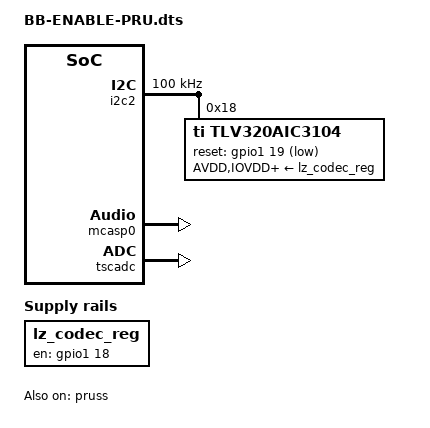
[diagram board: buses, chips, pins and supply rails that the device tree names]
#include "dt-bindings/gpio/gpio.h"
#include "dt-bindings/pinctrl/am33xx.h"

/dts-v1/;
/plugin/;

/ {
    compatible = "ti,beaglebone-black";

    /* identification */
    part-number = "BB-ENABLE-PRU";

    /* version */
    version = "00A0";

	fragment@0 {
		target = <&am33xx_pinmux>;
		__overlay__ {

			lzpt_gpio_pins: pinmux_lzpt_gpio_pins {
				pinctrl-single,pins = <							//	Hdr		PINS	GPIO	Mode7		Desc
																//	-----	----	----	---------	----------------------
					0x048 (PIN_OUTPUT_PULLDOWN | MUX_MODE7)		//	P9_14					gpio1[18]	CODEC regulator enable
					0x04c (PIN_OUTPUT_PULLDOWN | MUX_MODE7)		//	P9_16					gpio1[19]	CODEC nRESET
					
					0x030 (PIN_INPUT_PULLUP | MUX_MODE7)		//	P8_12	12		44		gpio1[12]	amp nFAULT
					0x024 (PIN_OUTPUT_PULLDOWN | MUX_MODE7)		//	P8_13	9		23		gpio0[23]	amp nSD
					
					0x028 (PIN_INPUT_PULLUP | MUX_MODE7)		//	P8_14	10		26		gpio0[26]	Front panel pin 6
					0x03c (PIN_INPUT_PULLUP | MUX_MODE7)		//	P8_15	15		47		gpio1[15]	Front panel pin 8
					0x038 (PIN_INPUT_PULLUP | MUX_MODE7)		//	P8_16	14		46		gpio1[14]	Front panel pin 10
					0x02c (PIN_INPUT_PULLUP | MUX_MODE7)		//	P8_17	11		27		gpio0[27]	Front panel pin 7
					0x08c (PIN_INPUT_PULLUP | MUX_MODE7)		//	P8_18	35		65		gpio2[1]	Front panel pin 9
				>;
			};
			
			i2c2_pins: pinmux_i2c2_pins {
				pinctrl-single,pins = <
					0x150 (SLEWCTRL_SLOW | PIN_INPUT_PULLUP | MUX_MODE2)	//	P9_22, spi0_scl.i2c2_sda
					0x154 (SLEWCTRL_SLOW | PIN_INPUT_PULLUP | MUX_MODE2)	//	P9_21, spi0_d0.i2c2_scl
				>;
			};

			i2s_pins: pinmux_i2s_pins {
				pinctrl-single,pins = <						//	Hdr		I2S		TLV		SoC
															//	-----	----	----	-------------
					0x190 (PIN_INPUT | MUX_MODE0)			//	P9_31	BCLK	BCLK	mcasp0_aclkx
					0x194 (PIN_INPUT | MUX_MODE0)			//	P9_29	WCLK	WCLK	mcasp0_fsx
					0x198 (PIN_INPUT | MUX_MODE0)			//	P9_30 	RX		SDOUT	mcasp0_axr0
					0x19c (PIN_INPUT | MUX_MODE2)			//	P9_28	TX		SDIN	mcasp0_axr2
					0x1ac (PIN_INPUT | MUX_MODE0)			//	P9_25	MCLK	MCLK	mcasp0_ahclkx
				>;
			};
		};
	};
	
	fragment@2 {
		target = <&ocp>;
		__overlay__ {
			gpio_helper {
				compatible = "gpio-of-helper";
				status = "okay";
				pinctrl-names = "default";
				pinctrl-0 = <&lzpt_gpio_pins>;
			};
		};
	};
	
	fragment@3 {
		target-path="/";
		__overlay__ {
			lz_codec_reg: fixedregulator@1 {
				compatible = "regulator-fixed";
				regulator-name = "lz-codec-reg";
				gpio = <&gpio1 18 GPIO_ACTIVE_HIGH>;	//	GPIO_ACTIVE_HIGH is ignored by regulator-fixed,
				enable-active-high;						//	need to also have enable-active-high.
			};
		};
	};
	
	fragment@4 {
		target = <&i2c2>;
		__overlay__ {
			#address-cells = <1>;
			#size-cells = <0>;
			clock-frequency = <100000>;
			status = "okay";
			pinctrl-names = "default";
			pinctrl-0 = <&i2c2_pins>;

			tlv320aic3104: tlv320aic3104@0 {
				#sound-dai-cells = <0>;
				compatible = "ti,tlv320aic3104";
				reg = <0x18>;
				gpio-reset = <&gpio1 19 GPIO_ACTIVE_LOW>;
				
				AVDD-supply = <&lz_codec_reg>;
				IOVDD-supply = <&lz_codec_reg>;
				DRVDD-supply = <&lz_codec_reg>;
				DVDD-supply = <&lz_codec_reg>;
			};
		};
	};

	fragment@5 {
		target = <&mcasp0>;
		__overlay__ {
			#sound-dai-cells = <0>;
			pinctrl-names = "default";
			pinctrl-0 = <&i2s_pins>;

			status = "okay";

			op-mode = <0>;          /* MCASP_IIS_MODE */
			tdm-slots = <2>;
			num-serializer = <16>;
			serial-dir = <  /* 0: INACTIVE, 1: TX, 2: RX */
				2 0 1 0
				0 0 0 0
				0 0 0 0
				0 0 0 0
			>;
			tx-num-evt = <1>;
			rx-num-evt = <1>;
		};
	};

	fragment@6 {
		target-path="/";
		__overlay__ {
			sound {
				compatible = "simple-audio-card";
				simple-audio-card,name = "Podtique Cape Rev A";
				simple-audio-card,widgets =
					"Speaker",				"External Speaker";
				simple-audio-card,routing =
					"External Speaker",		"LLOUT",
					"External Speaker",		"RLOUT";
				simple-audio-card,format = "dsp_b";
				simple-audio-card,bitclock-master = <&sound_master>;
				simple-audio-card,frame-master = <&sound_master>;
				simple-audio-card,bitclock-inversion;

				simple-audio-card,cpu {
					sound-dai = <&mcasp0>;
				};

				sound_master: simple-audio-card,codec {
					sound-dai = <&tlv320aic3104>;
					system-clock-frequency = <12000000>;
				};
			};
		};
	};
	
	fragment@7 {
		target = <&tscadc>;
		__overlay__ {

			status = "okay";
			adc {
				ti,adc-channels = <0 1 2>;
			};
		};
	};
	
	fragment@8 {         // Enable the PRUSS
		target = <&pruss>;
		__overlay__ {
			status = "okay";
		};
	};
};
